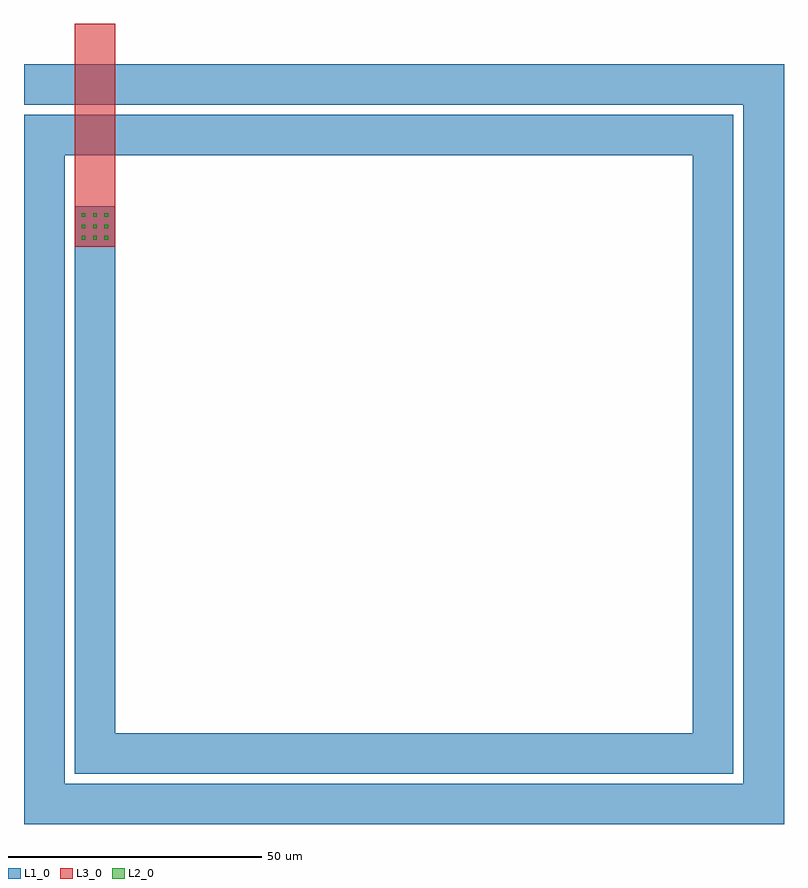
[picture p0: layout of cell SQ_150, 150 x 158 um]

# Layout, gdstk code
import gdstk
lib = gdstk.Library(unit=1e-6, precision=1e-09)
def R(c, l, rs):  # rectangles x0, y0, x1, y1
    for r in rs: c.add(gdstk.rectangle(r[:2], r[2:], *l))
def A(c, l, x, y, w, h, nx, ny, dx, dy):  # array of equal rectangles
    R(c, l, [(x+i*dx, y+j*dy, x+i*dx+w, y+j*dy+h) for i in range(nx) for j in range(ny)])
def P(c, l, *ps):  # polygons
    for p in ps: c.add(gdstk.Polygon(p, *l))
L1_0 = (1, 0)
L2_0 = (2, 0)
L3_0 = (3, 0)

sq_150 = lib.new_cell('SQ_150')
R(sq_150, L1_0, [(210,314,218,322)])
P(sq_150, L1_0, [(200,342),(200,350),(350,350),(342,342)],
  [(350,200),(342,208),(342,342),(350,350)],
  [(200,200),(208,208),(342,208),(350,200)],
  [(200,200),(200,340),(208,332),(208,208)],
  [(208,332),(200,340),(340,340),(332,332)],
  [(340,210),(332,218),(332,332),(340,340)],
  [(210,210),(218,218),(332,218),(340,210)],
  [(210,210),(210,322),(218,322),(218,218)])
A(sq_150, L2_0, 211.37, 315.37, 0.75, 0.75, 3, 3, 2.25, 2.25)
R(sq_150, L3_0, [(210,314,218,358), (210,314,218,322)])

lib.write_gds('SQ_150.gds')
